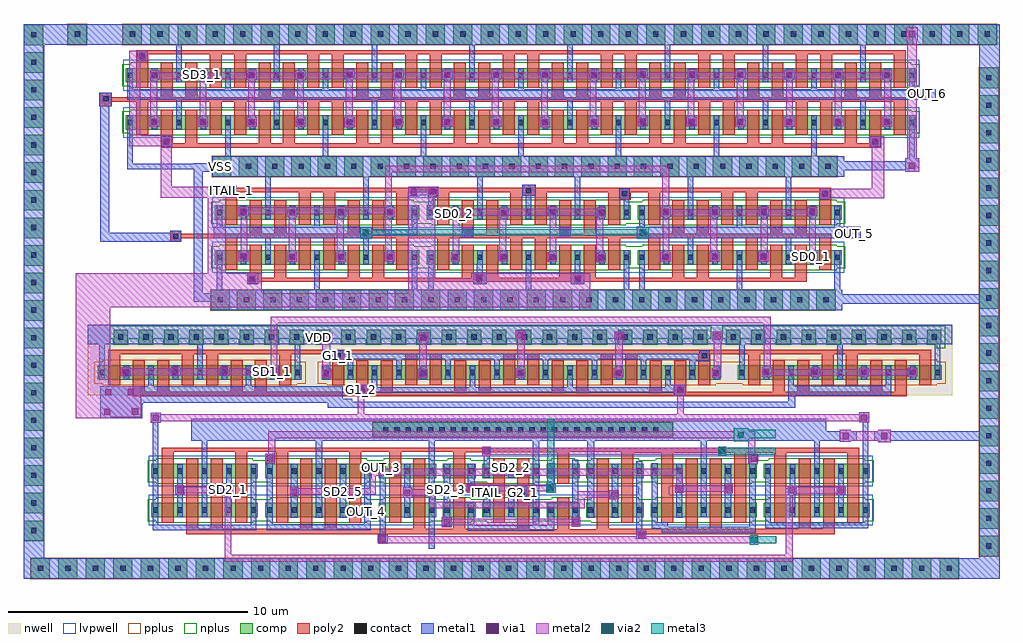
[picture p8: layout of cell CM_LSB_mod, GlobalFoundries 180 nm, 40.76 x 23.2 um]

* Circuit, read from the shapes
.subckt CM_LSB_mod G1_1 G1_2 G2_1 ITAIL ITAIL_1 OUT_1 OUT_2 OUT_3 OUT_4 OUT_5 OUT_6 SD0_1 SD0_2 SD1_1 SD2_1 SD2_2 SD2_3 SD2_4 SD2_5 SD3_1 VDD VSS
XM1 SD3_1 SD0_2 VSS VSS nfet_03v3 w=0.6u l=0.5u m=32
XM2 SD3_1 ITAIL_1 OUT_6 VSS nfet_03v3 w=0.6u l=0.5u m=32
XM3 SD2_1 ITAIL G1_2 VSS nfet_03v3 w=0.6u l=0.5u m=8
XM4 VSS G2_1 SD2_1 VSS nfet_03v3 w=0.6u l=0.5u m=8
XM5 SD0_1 SD0_2 VSS VSS nfet_03v3 w=0.6u l=0.5u m=16
XM6 SD0_1 ITAIL_1 OUT_5 VSS nfet_03v3 w=0.6u l=0.5u m=16
XM7 SD2_5 ITAIL OUT_4 VSS nfet_03v3 w=0.6u l=0.5u m=8
XM8 VSS G2_1 SD2_5 VSS nfet_03v3 w=0.6u l=0.5u m=8
XM9 SD2_4 ITAIL OUT_3 VSS nfet_03v3 w=0.6u l=0.5u m=4
XM10 VSS G2_1 SD2_4 VSS nfet_03v3 w=0.6u l=0.5u m=4
XM11 SD0_2 SD0_2 VSS VSS nfet_03v3 w=0.6u l=0.5u m=8
XM12 SD0_2 ITAIL_1 ITAIL_1 VSS nfet_03v3 w=0.6u l=0.5u m=8
XM13 VSS G2_1 SD2_3 VSS nfet_03v3 w=0.6u l=0.5u m=2
XM14 OUT_2 ITAIL SD2_3 VSS nfet_03v3 w=0.6u l=0.5u m=2
XM15 G2_1 ITAIL ITAIL VSS nfet_03v3 w=0.6u l=0.5u
XM16 SD2_2 ITAIL OUT_1 VSS nfet_03v3 w=0.6u l=0.5u
XM17 VSS G2_1 G2_1 VSS nfet_03v3 w=0.6u l=0.5u
XM18 VSS G2_1 SD2_2 VSS nfet_03v3 w=0.6u l=0.5u
XM19 SD1_1 G1_1 VDD VDD pfet_03v3 w=0.6u l=0.5u m=8
XM20 ITAIL_1 G1_2 SD1_1 VDD pfet_03v3 w=0.6u l=0.5u m=8
XM21 G1_1 G1_1 VDD VDD pfet_03v3 w=0.6u l=0.5u m=8
XM22 G1_2 G1_2 G1_1 VDD pfet_03v3 w=0.6u l=0.5u m=8
.ends

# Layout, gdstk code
import gdstk
lib = gdstk.Library(unit=1e-6, precision=1e-09)
def R(c, l, rs):  # rectangles x0, y0, x1, y1
    for r in rs: c.add(gdstk.rectangle(r[:2], r[2:], *l))
def A(c, l, x, y, w, h, nx, ny, dx, dy):  # array of equal rectangles
    R(c, l, [(x+i*dx, y+j*dy, x+i*dx+w, y+j*dy+h) for i in range(nx) for j in range(ny)])
nwell = (21, 0)
comp = (22, 0)
poly2 = (30, 0)
pplus = (31, 0)
nplus = (32, 0)
contact = (33, 0)
metal1 = (34, 0)
via1 = (35, 0)
metal2 = (36, 0)
via2 = (38, 0)
metal3 = (42, 0)
lvpwell = (204, 0)

nmos_3p3_mgea3b = lib.new_cell('nmos_3p3_MGEA3B')
R(nmos_3p3_mgea3b, comp, [(-0.69,-0.3,0.69,0.3)])
R(nmos_3p3_mgea3b, poly2, [(-0.25,-0.52,0.25,0.52)])
R(nmos_3p3_mgea3b, nplus, [(-0.48,-0.53,0.48,-0.46), (-0.85,-0.46,0.85,0.46), (-0.48,0.46,0.48,0.53)])
R(nmos_3p3_mgea3b, contact, [(-0.62,-0.11,-0.4,0.11), (0.4,-0.11,0.62,0.11)])
R(nmos_3p3_mgea3b, metal1, [(-0.625,-0.29,-0.395,0.29), (0.395,-0.29,0.625,0.29)])
R(nmos_3p3_mgea3b, lvpwell, [(-0.81,-0.64,0.81,0.64)])

pmos_3p3_dvj9e7 = lib.new_cell('pmos_3p3_DVJ9E7')
R(pmos_3p3_dvj9e7, nwell, [(-8.77,-0.95,8.77,0.95)])
R(pmos_3p3_dvj9e7, comp, [(-8.34,-0.3,8.34,0.3)])
A(pmos_3p3_dvj9e7, poly2, -7.9, -0.52, 0.5, 1.04, 16, 1, 1.02, 0)
R(pmos_3p3_dvj9e7, pplus, [(-8.13,-0.53,8.13,-0.46), (-8.5,-0.46,8.5,0.46), (-8.13,0.46,8.13,0.53)])
A(pmos_3p3_dvj9e7, contact, -8.27, -0.11, 0.22, 0.22, 17, 1, 1.02, 0)
A(pmos_3p3_dvj9e7, metal1, -8.275, -0.29, 0.23, 0.58, 17, 1, 1.02, 0)

pmos_3p3_kyxslm = lib.new_cell('pmos_3p3_KYXSLM')
R(pmos_3p3_kyxslm, nwell, [(-4.69,-0.95,4.69,0.95)])
R(pmos_3p3_kyxslm, comp, [(-4.26,-0.3,4.26,0.3)])
A(pmos_3p3_kyxslm, poly2, -3.82, -0.52, 0.5, 1.04, 8, 1, 1.02, 0)
R(pmos_3p3_kyxslm, pplus, [(-4.05,-0.53,4.05,-0.46), (-4.42,-0.46,4.42,0.46), (-4.05,0.46,4.05,0.53)])
A(pmos_3p3_kyxslm, contact, -4.19, -0.11, 0.22, 0.22, 9, 1, 1.02, 0)
A(pmos_3p3_kyxslm, metal1, -4.195, -0.29, 0.23, 0.58, 9, 1, 1.02, 0)

nmos_3p3_ajea3b = lib.new_cell('nmos_3p3_AJEA3B')
R(nmos_3p3_ajea3b, comp, [(-4.26,-0.3,4.26,0.3)])
A(nmos_3p3_ajea3b, poly2, -3.82, -0.52, 0.5, 1.04, 8, 1, 1.02, 0)
R(nmos_3p3_ajea3b, nplus, [(-4.05,-0.53,4.05,-0.46), (-4.42,-0.46,4.42,0.46), (-4.05,0.46,4.05,0.53)])
A(nmos_3p3_ajea3b, contact, -4.19, -0.11, 0.22, 0.22, 9, 1, 1.02, 0)
A(nmos_3p3_ajea3b, metal1, -4.195, -0.29, 0.23, 0.58, 9, 1, 1.02, 0)
R(nmos_3p3_ajea3b, lvpwell, [(-4.38,-0.64,4.38,0.64)])

nmos_3p3_9nplv7 = lib.new_cell('nmos_3p3_9NPLV7')
R(nmos_3p3_9nplv7, comp, [(-16.5,-0.3,16.5,0.3)])
A(nmos_3p3_9nplv7, poly2, -16.06, -0.52, 0.5, 1.04, 32, 1, 1.02, 0)
R(nmos_3p3_9nplv7, nplus, [(-16.29,-0.53,16.29,-0.46), (-16.66,-0.46,16.66,0.46), (-16.29,0.46,16.29,0.53)])
A(nmos_3p3_9nplv7, contact, -16.43, -0.11, 0.22, 0.22, 33, 1, 1.02, 0)
A(nmos_3p3_9nplv7, metal1, -16.435, -0.29, 0.23, 0.58, 33, 1, 1.02, 0)
R(nmos_3p3_9nplv7, lvpwell, [(-16.62,-0.64,16.62,0.64)])

cm_lsb_mod = lib.new_cell('CM_LSB_mod')
R(cm_lsb_mod, nwell, [(-16.28,3.8,19.77,5.7), (-16.29,5.7,19.81,6.75)])
A(cm_lsb_mod, comp, -18.665, -3.86, 0.795, 0.855, 34, 1, 1.15, 0)
A(cm_lsb_mod, comp, 20.935, -2.925, 0.795, 0.855, 1, 18, 0, 1.15)
A(cm_lsb_mod, comp, -18.945, -2.28, 0.795, 0.855, 1, 19, 0, 1.15)
A(cm_lsb_mod, comp, -15.195, 5.93, 0.585, 0.615, 8, 1, 1.05, 0)
A(cm_lsb_mod, comp, -6.74, 5.93, 0.585, 0.615, 16, 1, 1.05, 0)
A(cm_lsb_mod, comp, 10.38, 5.93, 0.585, 0.615, 9, 1, 1.05, 0)
A(cm_lsb_mod, comp, -11.155, 7.35, 0.795, 0.855, 24, 1, 1.1, 0)
A(cm_lsb_mod, comp, -11.075, 12.93, 0.795, 0.855, 24, 1, 1.1, 0)
A(cm_lsb_mod, comp, -14.815, 18.445, 0.795, 0.855, 29, 1, 1.15, 0)
A(cm_lsb_mod, comp, 18.575, 18.445, 0.795, 0.855, 3, 1, 1.15, 0)
R(cm_lsb_mod, comp, [(-4.38,2.065,8.145,2.685), (-17.11,18.445,-16.315,19.3)])
A(cm_lsb_mod, poly2, -8.42, -0.47, 0.5, 0.59, 4, 1, 1.02, 0)
A(cm_lsb_mod, poly2, 7.66, -0.47, 0.5, 0.59, 4, 1, 1.02, 0)
R(cm_lsb_mod, poly2, [(-12.165,-1.995,14.92,-1.78), (-12.165,-1.78,2.16,-1.77), (3.32,-1.78,3.82,-1.51), (4.98,-1.78,14.92,-1.76), (-12.165,-1.77,-2.18,-1.765), (-1.02,-1.77,-0.52,-1.51), (1.66,-1.77,2.16,-1.51), (-12.165,-1.765,-11.665,0.385), (-11.145,-1.765,-10.645,1.105), (-7.4,-1.765,-6.9,-1.505), (-6.38,-1.765,-5.88,-1.51), (-2.68,-1.765,-2.18,-1.51), (4.98,-1.76,5.48,-1.51), (8.68,-1.76,9.18,-1.51), (9.7,-1.76,10.2,-1.51), (13.4,-1.76,13.9,0.3), (14.42,-1.76,14.92,0.46), (-10.125,-1.1,-9.625,1.44), (-13.185,-0.965,-12.685,1.44), (12.38,-0.585,12.88,1.4), (15.44,-0.56,15.94,1.4), (1.66,-0.475,2.085,-0.47), (-3.7,-0.47,-3.2,0.12), (-2.68,-0.47,-2.18,0.12), (0.64,-0.47,1.14,-0.395), (1.66,-0.47,2.16,0.12), (4.98,-0.47,5.48,0.12), (6,-0.47,6.5,0.12), (0.225,-0.395,1.14,-0.21), (-1.02,-0.21,1.14,0.12), (-1.02,0.12,0.685,0.135), (-1.02,0.94,-0.52,1.415), (3.315,1.145,3.82,1.415), (-8.42,1.16,-7.92,1.44), (-5.36,1.16,-4.86,1.44), (-3.7,1.16,-3.2,1.44), (6,1.16,6.5,1.4), (7.66,1.16,8.16,1.4), (10.72,1.16,11.22,1.4), (6,1.4,15.94,1.44), (-1.02,1.415,3.82,1.44), (-13.185,1.44,15.94,1.62), (-14.4,3.765,17.92,3.95), (-14.4,3.95,-13.9,4.23), (-13.38,3.95,-12.88,4.415), (-10.32,3.95,-9.82,4.41), (-9.3,3.95,-8.8,4.405), (-5.06,3.95,-4.56,4.265), (-4.04,3.95,-3.54,4.23), (-0.98,3.95,-0.48,4.23), (0.04,3.95,0.54,4.23), (3.1,3.95,3.6,4.23), (4.12,3.95,4.62,4.23), (7.18,3.95,7.68,4.23), (8.2,3.95,8.7,4.265), (12.32,3.95,12.82,4.39), (13.34,3.95,13.84,4.39), (16.4,3.95,16.9,4.39), (17.42,3.95,17.92,4.39), (-6.08,5.205,-5.58,5.52), (9.22,5.205,9.72,5.52), (-15.42,5.27,-14.92,5.52), (-12.36,5.27,-11.86,5.52), (-11.34,5.27,-10.84,5.52), (-8.28,5.27,-7.78,5.52), (-3.02,5.27,-2.52,5.52), (-2,5.27,-1.5,5.52), (1.06,5.27,1.56,5.52), (2.08,5.27,2.58,5.52), (5.14,5.27,5.64,5.52), (6.16,5.27,6.66,5.52), (11.3,5.27,11.8,5.52), (14.36,5.27,14.86,5.52), (15.38,5.27,15.88,5.52), (18.44,5.27,18.94,5.52), (-15.42,5.52,18.94,5.705), (18.44,5.705,18.94,5.71), (3.895,8.435,4.46,8.54), (-0.185,8.445,0.37,8.54), (-9.6,8.46,-9.16,8.54), (-9.6,8.54,13.735,8.72), (-9.6,8.72,-9.01,8.915), (-8.49,8.72,-7.99,9.225), (-5.43,8.72,-4.93,9.225), (-4.41,8.72,-3.91,9.22), (-0.67,8.72,0.85,8.86), (3.41,8.72,4.93,8.905), (8.135,8.72,8.635,9.045), (9.155,8.72,9.655,9.045), (12.215,8.72,12.715,9.045), (13.235,8.72,13.735,9.05), (-0.67,8.86,-0.17,9.045), (0.35,8.86,0.85,9.045), (3.41,8.905,3.91,9.045), (4.43,8.905,4.93,9.045), (-9.51,8.915,-9.01,9.045), (-10.53,10.085,-10.03,10.36), (-7.47,10.085,-6.97,10.36), (-6.45,10.085,-5.95,10.36), (-3.39,10.085,-2.89,10.36), (-1.69,10.085,-1.19,10.36), (1.37,10.085,1.865,10.36), (2.39,10.085,2.885,10.36), (5.45,10.085,5.945,10.36), (7.115,10.085,7.615,10.36), (10.175,10.085,10.675,10.36), (11.195,10.085,11.695,10.36), (14.255,10.085,14.755,10.36), (-12.835,10.205,-12.37,10.36), (-12.835,10.36,14.755,10.54), (-12.835,10.54,-12.37,10.675), (-9.51,10.54,-9.01,10.995), (-8.49,10.54,-7.99,10.99), (-5.43,10.54,-4.93,10.99), (-4.41,10.54,-3.91,10.995), (-0.67,10.54,-0.17,10.915), (0.35,10.54,0.85,10.915), (3.41,10.54,3.91,10.915), (4.43,10.54,4.93,10.915), (8.135,10.54,8.635,10.915), (9.155,10.54,9.655,10.92), (12.215,10.54,12.715,10.915), (13.235,10.54,13.735,10.92), (-10.53,11.955,-10.03,12.135), (-7.47,11.955,-6.97,12.285), (-6.45,11.955,-5.95,12.285), (-3.39,11.955,-2.89,12.285), (-1.69,11.955,-1.19,12.08), (1.37,11.955,1.87,12.13), (2.39,11.955,2.89,12.13), (5.45,11.955,5.95,11.965), (7.115,11.955,7.615,12.285), (10.175,11.955,10.675,12.285), (11.195,11.955,11.695,12.285), (14.255,11.955,14.755,12.285), (5.45,11.965,6.385,12.285), (-2.07,12.08,-1.19,12.285), (1.37,12.13,2.89,12.285), (-10.535,12.135,-10.03,12.285), (-10.535,12.285,14.755,12.465), (-10.535,12.465,-10.07,12.55), (-2.07,12.465,-1.63,12.52), (1.855,12.465,2.43,12.585), (-13.23,14.15,16.85,14.33), (-13.23,14.33,-12.73,14.68), (-12.21,14.33,-11.71,14.68), (-9.15,14.33,-8.65,14.68), (-8.13,14.33,-7.63,14.68), (-5.07,14.33,-4.57,14.68), (-4.05,14.33,-3.55,14.68), (-0.99,14.33,-0.49,14.68), (0.03,14.33,0.53,14.68), (3.09,14.33,3.59,14.68), (4.11,14.33,4.61,14.68), (7.17,14.33,7.67,14.68), (8.19,14.33,8.69,14.68), (11.25,14.33,11.75,14.68), (12.27,14.33,12.77,14.68), (15.33,14.33,15.83,14.68), (16.35,14.33,16.85,14.68), (-14.25,15.72,-13.75,16.07), (-11.19,15.72,-10.69,16.07), (-10.17,15.72,-9.67,16.07), (-7.11,15.72,-6.61,16.07), (-6.09,15.72,-5.59,16.07), (-3.03,15.72,-2.53,16.07), (-2.01,15.72,-1.51,16.07), (1.05,15.72,1.55,16.07), (2.07,15.72,2.57,16.07), (5.13,15.72,5.63,16.07), (6.15,15.72,6.65,16.07), (9.21,15.72,9.71,16.07), (10.23,15.72,10.73,16.07), (13.29,15.72,13.79,16.07), (14.31,15.72,14.81,16.07), (17.37,15.72,17.87,16.07), (-15.8,15.88,-15.29,16.07), (-15.8,16.07,17.87,16.25), (-15.8,16.25,-15.29,16.44), (-13.23,16.25,-12.73,16.78), (-12.21,16.25,-11.71,16.78), (-9.15,16.25,-8.65,16.78), (-8.13,16.25,-7.63,16.78), (-5.07,16.25,-4.57,16.78), (-4.05,16.25,-3.55,16.78), (-0.99,16.25,-0.49,16.78), (0.03,16.25,0.53,16.78), (3.09,16.25,3.59,16.78), (4.11,16.25,4.61,16.78), (7.17,16.25,7.67,16.775), (8.19,16.25,8.69,16.78), (11.25,16.25,11.75,16.78), (12.27,16.25,12.77,16.78), (15.33,16.25,15.83,16.78), (16.35,16.25,16.85,16.78), (-14.25,17.575,-13.75,18.04), (-11.19,17.69,-10.69,18.04), (-10.17,17.69,-9.67,18.04), (-7.11,17.69,-6.61,18.04), (-6.09,17.69,-5.59,18.04), (-3.03,17.69,-2.53,18.04), (-2.01,17.69,-1.51,18.04), (1.05,17.69,1.55,18.04), (2.07,17.69,2.57,18.04), (5.13,17.69,5.63,18.04), (6.15,17.69,6.65,18.04), (9.21,17.69,9.71,18.04), (10.23,17.69,10.73,18.04), (13.29,17.69,13.79,18.04), (14.31,17.69,14.81,18.04), (17.37,17.69,17.87,18.04), (-14.25,18.04,17.87,18.22)])
R(cm_lsb_mod, pplus, [(-18.685,-3.88,20.1,-2.985), (20.915,-2.945,21.75,17.5), (-18.965,-2.3,-18.13,19.295), (-4.4,2.045,8.165,2.705), (10.32,4.29,10.7,5.21), (-11.175,7.33,14.96,8.225), (-11.095,12.91,15.04,13.805), (-17.13,18.425,-16.295,19.32), (-14.835,18.425,21.69,19.32)])
A(cm_lsb_mod, nplus, -12.455, -1.52, 0.06, 0.07, 3, 2, 1.02, 0.99)
A(cm_lsb_mod, nplus, -7.69, -1.52, 0.06, 0.07, 3, 2, 1.02, 0.99)
A(cm_lsb_mod, nplus, -2.97, -1.52, 0.06, 0.07, 3, 2, 4.34, 0.99)
A(cm_lsb_mod, nplus, 8.39, -1.52, 0.06, 0.07, 3, 2, 1.02, 0.99)
A(cm_lsb_mod, nplus, 13.11, -1.52, 0.06, 0.07, 3, 2, 1.02, 0.99)
A(cm_lsb_mod, nplus, -12.455, 0.11, 0.06, 0.07, 3, 2, 1.02, 0.99)
A(cm_lsb_mod, nplus, -7.69, 0.11, 0.06, 0.07, 3, 2, 1.02, 0.99)
A(cm_lsb_mod, nplus, -2.97, 0.11, 0.06, 0.07, 3, 2, 4.34, 0.99)
A(cm_lsb_mod, nplus, 8.39, 0.11, 0.06, 0.07, 3, 2, 1.02, 0.99)
A(cm_lsb_mod, nplus, 13.11, 0.11, 0.06, 0.07, 3, 2, 1.02, 0.99)
A(cm_lsb_mod, nplus, -15.215, 5.91, 0.625, 0.005, 8, 1, 1.05, 0)
A(cm_lsb_mod, nplus, -6.76, 5.91, 0.625, 0.005, 16, 1, 1.05, 0)
A(cm_lsb_mod, nplus, 10.36, 5.91, 0.625, 0.005, 8, 1, 1.05, 0)
A(cm_lsb_mod, nplus, -15.22, 5.915, 0.63, 0.245, 8, 1, 1.05, 0)
A(cm_lsb_mod, nplus, -6.765, 5.915, 0.63, 0.245, 16, 1, 1.05, 0)
A(cm_lsb_mod, nplus, 10.355, 5.915, 0.63, 0.245, 8, 1, 1.05, 0)
R(cm_lsb_mod, nplus, [(-9.025,-1.45,-9.02,-0.53), (-9.025,0.18,-9.02,1.1), (19.18,5.77,19.525,5.91), (18.76,5.91,19.525,5.915), (18.755,5.915,19.525,6.16), (-15.355,6.16,9.755,6.705), (10.22,6.16,19.525,6.705)])
A(cm_lsb_mod, contact, -18.37, -3.53, 0.22, 0.22, 34, 1, 1.15, 0)
A(cm_lsb_mod, contact, 21.23, -2.595, 0.22, 0.22, 1, 18, 0, 1.15)
A(cm_lsb_mod, contact, -18.65, -1.95, 0.22, 0.22, 1, 19, 0, 1.15)
A(cm_lsb_mod, contact, -3.95, 2.255, 0.22, 0.22, 25, 1, 0.47, 0)
A(cm_lsb_mod, contact, -15.015, 6.13, 0.22, 0.22, 8, 1, 1.05, 0)
A(cm_lsb_mod, contact, -6.56, 6.13, 0.22, 0.22, 16, 1, 1.05, 0)
A(cm_lsb_mod, contact, 10.56, 6.13, 0.22, 0.22, 9, 1, 1.05, 0)
A(cm_lsb_mod, contact, -10.86, 7.68, 0.22, 0.22, 24, 1, 1.1, 0)
A(cm_lsb_mod, contact, -10.78, 13.26, 0.22, 0.22, 24, 1, 1.1, 0)
A(cm_lsb_mod, contact, -14.52, 18.775, 0.22, 0.22, 29, 1, 1.15, 0)
A(cm_lsb_mod, contact, 18.87, 18.775, 0.22, 0.22, 3, 1, 1.15, 0)
R(cm_lsb_mod, contact, [(1.76,-0.335,1.98,-0.115), (0.6,-0.275,0.82,-0.055), (-4.92,3.905,-4.7,4.125), (8.34,3.905,8.56,4.125), (-5.94,5.345,-5.72,5.565), (9.36,5.345,9.58,5.565), (-0.035,8.54,0.185,8.76), (-9.505,8.56,-9.285,8.78), (4.05,8.565,4.27,8.785), (-12.72,10.335,-12.5,10.555), (-0.53,10.5,-0.31,10.72), (3.55,10.5,3.77,10.72), (6.025,12.105,6.245,12.325), (14.395,12.105,14.615,12.325), (-1.96,12.19,-1.74,12.41), (-10.425,12.235,-10.205,12.455), (2.01,12.235,2.23,12.455), (-13.09,14.29,-12.87,14.51), (16.49,14.29,16.71,14.51), (-15.635,16.08,-15.415,16.3), (-14.11,17.86,-13.89,18.08), (-16.815,18.775,-16.595,18.995)])
A(cm_lsb_mod, metal1, -15.795, 5.04, 0.23, 0.89, 3, 1, 4.08, 0)
A(cm_lsb_mod, metal1, -3.395, 5.04, 0.23, 0.275, 6, 1, 2.04, 0)
A(cm_lsb_mod, metal1, 10.925, 5.04, 0.23, 0.89, 3, 1, 4.08, 0)
A(cm_lsb_mod, metal1, 6.74, 8.205, 0.23, 1.07, 3, 1, 4.08, 0)
A(cm_lsb_mod, metal1, -10.545, 13.785, 0.23, 1.125, 7, 1, 4.08, 0)
A(cm_lsb_mod, metal1, -12.585, 15.49, 0.23, 0.655, 8, 1, 4.08, 0)
A(cm_lsb_mod, metal1, -10.545, 16.585, 0.23, 0.3, 3, 1, 4.08, 0)
A(cm_lsb_mod, metal1, 9.855, 16.585, 0.23, 0.3, 3, 1, 4.08, 0)
A(cm_lsb_mod, metal1, -8.505, 17.46, 0.23, 0.985, 7, 1, 4.08, 0)
R(cm_lsb_mod, metal1, [(-18.945,-3.86,21.79,-3.005), (-18.945,-3.005,-18.09,18.445), (20.935,-3.005,21.79,1.895), (-2.04,-2.61,-1.79,1.905), (-4.165,-2.38,-3.755,-2.02), (6.625,-2.195,7.045,-1.86), (-4.09,-2.02,-3.83,0.955), (7.685,-1.945,11.605,-1.765), (6.625,-1.86,6.88,1.045), (-0.405,-1.85,-0.14,-1.845), (-0.405,-1.845,3.19,-1.615), (-13.56,-1.83,-9.25,-1.6), (-8.8,-1.83,-4.47,-1.585), (7.265,-1.765,11.605,-1.685), (12.005,-1.75,16.315,-1.52), (3.925,-1.695,4.29,-1.29), (7.265,-1.685,7.945,-1.505), (11.35,-1.685,11.605,0.925), (-1.49,-1.655,-1.09,-1.34), (-0.405,-1.615,-0.145,-0.675), (2.29,-1.615,2.58,1.905), (2.925,-1.615,3.19,-0.655), (-13.56,-1.6,-13.33,2.66), (-9.48,-1.6,-9.25,0.35), (-8.8,-1.585,-8.555,0.965), (-4.74,-1.585,-4.47,0.935), (12.005,-1.52,12.235,0.35), (16.085,-1.52,16.315,2.675), (7.265,-1.505,7.525,0.96), (-1.415,-1.34,-1.155,0.94), (4.585,-1.32,4.86,1.905), (-3.075,-1.315,-2.81,-0.47), (10.325,-1.315,10.585,-0.29), (8.29,-1.31,8.55,-0.275), (-7.795,-1.305,-7.515,-0.405), (-6.77,-1.305,-6.49,1.905), (-5.76,-1.3,-5.485,-0.405), (5.59,-1.3,5.875,-0.53), (1.27,-1.295,1.525,-0.45), (0.23,-1.29,0.515,-0.39), (3.955,-1.29,4.205,1.115), (9.305,-1.29,9.565,1.905), (-12.54,-0.7,-12.31,-0.34), (-11.52,-0.7,-11.29,1.905), (-10.5,-0.7,-10.27,-0.345), (13.025,-0.7,13.255,-0.34), (14.045,-0.7,14.275,1.895), (15.065,-0.7,15.295,-0.345), (5.495,-0.53,5.9,-0.16), (-3.125,-0.47,-2.725,-0.045), (1.27,-0.45,2.06,0), (-7.8,-0.405,-7.51,-0.4), (-5.79,-0.405,-5.425,-0.02), (-7.84,-0.4,-7.47,-0.035), (0.23,-0.39,0.93,0.04), (-10.575,-0.345,-10.2,0.045), (15,-0.345,15.36,0.025), (-12.625,-0.34,-12.25,0.045), (12.955,-0.34,13.315,0.03), (10.295,-0.29,10.66,0.115), (-0.46,-0.275,-0.11,0.08), (2.88,-0.275,3.25,0.09), (8.22,-0.275,8.625,0.075), (5.59,-0.16,5.875,0.95), (-3.075,-0.045,-2.81,0.95), (-7.795,-0.035,-7.515,0.95), (-5.76,-0.02,-5.485,0.93), (15.065,0.025,15.295,0.35), (13.025,0.03,13.255,0.35), (-12.54,0.045,-12.31,0.35), (-10.5,0.045,-10.27,0.35), (8.29,0.075,8.55,0.945), (-0.405,0.08,-0.125,0.95), (2.9,0.09,3.215,0.965), (10.325,0.115,10.585,0.94), (1.275,0.35,1.53,0.935), (0.26,0.36,0.495,1.265), (11.34,0.925,11.705,1.365), (-8.88,0.965,-8.475,1.355), (0.185,1.265,0.54,1.66), (16.72,1.85,17.24,1.895), (15.125,1.86,15.585,1.895), (14.045,1.895,15.83,1.905), (16.555,1.895,21.79,2.305), (-11.96,1.905,15.83,2.305), (-11.96,2.305,14.565,2.82), (15.125,2.305,15.585,2.36), (16.72,2.305,17.24,2.36), (20.935,2.305,21.79,7.63), (-13.65,2.66,-13.23,3.075), (15.925,2.675,16.345,3.09), (-11.96,2.82,-5.17,2.825), (-4.835,2.82,-4.595,2.825), (-0.755,2.82,-0.5,2.825), (3.32,2.82,3.59,2.825), (7.42,2.82,7.66,2.825), (8.555,2.82,14.565,2.825), (-15.75,2.85,-14,3.42), (-6.265,3.285,13.265,3.485), (-15.75,3.42,-13.985,3.485), (-15.75,3.485,13.265,3.535), (-15.75,3.535,-5.235,3.665), (12.965,3.535,13.265,3.785), (-15.75,3.665,-5.625,4.185), (12.965,3.785,17.265,3.98), (-5.035,3.79,-4.585,3.905), (8.225,3.79,8.675,3.91), (-5.055,3.905,-4.585,3.91), (-5.055,3.91,8.675,4.14), (12.965,3.98,17.275,4.21), (-5.055,4.14,-4.185,4.195), (-0.335,4.14,-0.105,4.69), (3.745,4.14,3.975,4.69), (7.825,4.14,8.675,4.24), (-13.755,4.185,-13.525,4.46), (-9.675,4.185,-9.445,4.46), (-5.035,4.195,-4.185,4.24), (12.965,4.21,13.195,4.46), (17.045,4.21,17.275,4.46), (-4.415,4.24,-4.185,4.475), (7.825,4.24,8.055,4.46), (-6.515,4.52,-6.12,4.915), (-2.495,4.52,-2.1,4.915), (1.6,4.53,1.995,4.925), (5.675,4.535,6.07,4.93), (9.775,4.54,10.17,4.935), (13.9,4.575,14.305,4.955), (15.935,4.575,16.34,4.955), (17.96,4.575,18.365,4.955), (11.865,4.585,12.27,4.965), (-14.895,4.595,-14.49,4.975), (-8.75,4.6,-8.3,5.05), (-12.81,4.62,-12.405,5), (-10.76,4.62,-10.355,5), (-5.435,5.03,-5.205,5.23), (8.845,5.04,9.075,5.23), (-6.055,5.23,-5.205,5.315), (8.845,5.23,9.695,5.315), (-6.055,5.315,9.695,5.545), (-6.055,5.545,-5.605,5.68), (9.245,5.545,9.695,5.68), (-5.99,5.68,-5.76,5.69), (-16.29,5.93,19.81,6.75), (-11.155,7.35,15.22,7.63), (-11.155,7.63,21.79,7.705), (-11.85,7.705,21.79,8.02), (-11.85,8.02,15.22,8.065), (20.935,8.02,21.79,18.445), (-11.85,8.065,-11.49,13.13), (-11.155,8.065,15.22,8.205), (-10.905,8.205,-10.675,9.29), (-6.825,8.205,-6.595,9.275), (-2.745,8.205,-2.515,9.275), (-2.065,8.205,-1.835,9.285), (2.015,8.205,2.245,9.275), (6.095,8.205,6.325,9.275), (3.895,8.435,4.46,8.905), (-9.62,8.445,-9.16,8.915), (-0.185,8.445,0.37,8.86), (-0.085,8.86,0.205,8.9), (-0.03,8.9,0.205,9.275), (4.055,8.905,4.285,9.275), (4.965,9.36,5.35,9.765), (2.925,9.37,3.31,9.775), (7.63,9.37,8.055,9.775), (-5.92,9.38,-5.495,9.785), (-3.885,9.38,-3.46,9.785), (-1.13,9.38,-0.745,9.785), (-7.955,9.385,-7.53,9.79), (9.685,9.39,10.11,9.795), (11.725,9.39,12.15,9.795), (0.865,9.395,1.25,9.8), (13.78,9.4,14.205,9.805), (-9.99,9.405,-9.565,9.81), (-8.865,9.855,-8.635,10.36), (-4.785,9.855,-4.555,10.35), (8.78,9.855,9.01,10.36), (12.86,9.855,13.09,10.36), (-12.835,10.205,-12.37,10.22), (-15.76,10.22,-12.37,10.59), (-4.9,10.35,-4.415,10.36), (6.65,10.35,7.135,10.36), (-11.03,10.36,-4.41,10.485), (6.65,10.36,15.99,10.835), (-0.645,10.385,-0.195,10.835), (3.435,10.385,3.885,10.835), (-11.03,10.485,-2.515,10.715), (-15.76,10.59,-15.39,15.88), (-12.835,10.59,-12.37,10.675), (-11.03,10.715,-4.41,10.845), (-2.745,10.715,-2.515,11.165), (6.66,10.835,15.99,10.845), (-10.905,10.845,-10.675,11.19), (-6.825,10.845,-6.595,11.165), (6.74,10.845,6.97,11.165), (10.82,10.845,11.05,11.165), (14.9,10.845,15.13,11.145), (-2.07,11.185,-1.825,12.085), (-1.13,11.22,-0.745,11.625), (0.895,11.225,1.28,11.63), (-7.95,11.245,-7.525,11.65), (-3.885,11.245,-3.46,11.65), (4.965,11.245,5.35,11.65), (7.645,11.25,8.07,11.655), (9.685,11.255,10.11,11.66), (-5.92,11.265,-5.495,11.67), (2.935,11.27,3.32,11.675), (11.735,11.27,12.16,11.675), (13.76,11.27,14.185,11.675), (-9.99,11.275,-9.565,11.68), (-8.865,11.725,-8.635,12.93), (-4.785,11.725,-4.555,12.93), (-0.025,11.725,0.205,12.93), (2.015,11.725,2.245,12.13), (4.055,11.725,4.285,12.93), (6.095,11.725,6.325,11.99), (8.78,11.725,9.01,12.93), (12.86,11.725,13.09,12.93), (5.91,11.99,6.36,12.44), (14.28,11.99,14.73,12.44), (-2.095,12.085,-1.715,12.105), (-2.095,12.105,-1.655,12.165), (-2.89,12.12,-2.445,12.165), (1.855,12.13,2.43,12.585), (-10.535,12.135,-10.07,12.55), (-2.89,12.165,-1.655,12.41), (-2.89,12.41,-2.445,12.48), (-2.095,12.41,-1.655,12.495), (-2.095,12.495,-1.715,12.51), (-11.075,12.93,15.3,13.13), (-11.85,13.13,15.3,13.195), (17.86,13.135,18.445,13.195), (-11.85,13.195,18.445,13.245), (-14.625,13.245,18.445,13.475), (-14.625,13.475,-14.395,14.91), (-11.85,13.475,18.445,13.49), (-11.075,13.49,18.445,13.585), (-11.075,13.585,15.3,13.785), (17.86,13.585,18.445,13.695), (18.015,13.695,18.245,14.91), (-13.205,14.175,-12.755,14.625), (16.375,14.175,16.825,14.625), (-5.565,15.005,-5.135,15.42), (2.605,15.005,3.035,15.42), (0.57,15.01,1,15.425), (-9.645,15.015,-9.215,15.43), (4.65,15.015,5.08,15.43), (-3.53,15.02,-3.1,15.435), (12.805,15.02,13.235,15.435), (16.89,15.02,17.32,15.435), (-13.71,15.025,-13.28,15.44), (-11.675,15.025,-11.245,15.44), (-7.6,15.025,-7.17,15.44), (-1.48,15.025,-1.05,15.44), (10.765,15.025,11.195,15.44), (8.72,15.03,9.15,15.445), (14.85,15.035,15.28,15.45), (6.68,15.04,7.11,15.455), (-15.8,15.88,-15.29,16.44), (-14.625,16.145,19.13,16.585), (-14.625,16.585,-14.395,16.88), (1.695,16.585,1.925,16.88), (5.775,16.585,6.005,16.88), (-7.615,16.965,-7.185,17.38), (-13.7,16.97,-13.27,17.385), (-11.67,16.98,-11.24,17.395), (-3.52,16.98,-3.09,17.395), (14.84,16.98,15.27,17.395), (16.885,16.98,17.315,17.395), (-9.645,16.985,-9.215,17.4), (4.65,16.985,5.08,17.4), (12.8,16.985,13.23,17.4), (-1.47,16.99,-1.04,17.405), (-5.56,16.995,-5.13,17.41), (0.575,16.995,1.005,17.41), (2.605,16.995,3.035,17.41), (10.765,16.995,11.195,17.41), (6.68,17.01,7.11,17.425), (8.745,17.01,9.175,17.425), (-12.585,17.415,-12.355,18.445), (-14.225,17.745,-13.775,18.195), (-18.945,18.445,21.79,19.3)])
R(cm_lsb_mod, via1, [(-4.09,-2.325,-3.83,-2.065), (6.715,-2.18,6.975,-1.92), (-1.415,-1.62,-1.155,-1.36), (3.955,-1.62,4.215,-1.36), (5.585,-0.475,5.845,-0.215), (-3.07,-0.395,-2.81,-0.135), (-7.785,-0.35,-7.525,-0.09), (-5.74,-0.35,-5.48,-0.09), (13.01,-0.29,13.27,-0.03), (-12.555,-0.285,-12.295,-0.025), (15.05,-0.285,15.31,-0.025), (-10.515,-0.28,-10.255,-0.02), (8.295,-0.22,8.555,0.04), (10.345,-0.22,10.605,0.04), (-0.395,-0.2,-0.135,0.06), (2.925,-0.2,3.185,0.06), (-8.805,1.03,-8.545,1.29), (11.4,1.03,11.66,1.29), (0.25,1.335,0.51,1.595), (15.235,1.97,15.495,2.23), (16.845,1.97,17.105,2.23), (-13.575,2.735,-13.315,2.995), (16,2.735,16.26,2.995), (-15.6,2.99,-15.34,3.25), (-14.435,3,-14.175,3.26), (-15.555,3.795,-15.295,4.055), (-14.62,3.815,-14.36,4.075), (8.345,3.9,8.605,4.16), (-5,3.92,-4.74,4.18), (-6.455,4.585,-6.195,4.845), (-2.435,4.585,-2.175,4.845), (1.66,4.595,1.92,4.855), (5.735,4.6,5.995,4.86), (9.835,4.605,10.095,4.865), (13.955,4.64,14.215,4.9), (15.99,4.64,16.25,4.9), (18.015,4.64,18.275,4.9), (11.92,4.65,12.18,4.91), (-14.84,4.66,-14.58,4.92), (-12.755,4.685,-12.495,4.945), (-10.705,4.685,-10.445,4.945), (-8.655,4.695,-8.395,4.955), (-6.4,6.075,-6.14,6.335), (-2.395,6.085,-2.135,6.345), (5.785,6.125,6.045,6.385), (9.885,6.125,10.145,6.385), (1.645,6.185,1.905,6.445), (-9.54,8.52,-9.28,8.78), (4.05,8.53,4.31,8.79), (-0.07,8.585,0.19,8.845), (5.025,9.425,5.285,9.685), (2.985,9.435,3.245,9.695), (-1.07,9.445,-0.81,9.705), (7.71,9.445,7.97,9.705), (-5.84,9.455,-5.58,9.715), (-3.805,9.455,-3.545,9.715), (-7.875,9.46,-7.615,9.72), (0.925,9.46,1.185,9.72), (9.765,9.465,10.025,9.725), (11.805,9.465,12.065,9.725), (13.86,9.475,14.12,9.735), (-9.91,9.48,-9.65,9.74), (-4.8,10.47,-4.54,10.73), (-0.53,10.47,-0.27,10.73), (3.52,10.47,3.78,10.73), (6.77,10.47,7.03,10.73), (-1.07,11.285,-0.81,11.545), (0.955,11.29,1.215,11.55), (5.025,11.31,5.285,11.57), (-7.87,11.32,-7.61,11.58), (-3.805,11.32,-3.545,11.58), (7.725,11.325,7.985,11.585), (9.765,11.33,10.025,11.59), (2.995,11.335,3.255,11.595), (-5.84,11.34,-5.58,11.6), (11.815,11.345,12.075,11.605), (13.84,11.345,14.1,11.605), (-9.91,11.35,-9.65,11.61), (14.375,12.085,14.635,12.345), (-2.8,12.16,-2.54,12.42), (-2.04,12.195,-1.78,12.455), (-10.445,12.2,-10.185,12.46), (18.01,13.26,18.27,13.52), (-13.13,14.255,-12.87,14.515), (16.46,14.26,16.72,14.52), (-5.49,15.07,-5.23,15.33), (2.68,15.07,2.94,15.33), (0.645,15.075,0.905,15.335), (-9.57,15.08,-9.31,15.34), (4.725,15.08,4.985,15.34), (-3.455,15.085,-3.195,15.345), (12.88,15.085,13.14,15.345), (16.965,15.085,17.225,15.345), (-13.635,15.09,-13.375,15.35), (-11.6,15.09,-11.34,15.35), (-7.525,15.09,-7.265,15.35), (-1.405,15.09,-1.145,15.35), (10.84,15.09,11.1,15.35), (8.795,15.095,9.055,15.355), (14.925,15.1,15.185,15.36), (6.755,15.105,7.015,15.365), (-7.54,17.03,-7.28,17.29), (-13.625,17.035,-13.365,17.295), (-11.595,17.045,-11.335,17.305), (-3.445,17.045,-3.185,17.305), (14.915,17.045,15.175,17.305), (16.96,17.045,17.22,17.305), (-9.57,17.05,-9.31,17.31), (4.725,17.05,4.985,17.31), (12.875,17.05,13.135,17.31), (-1.395,17.055,-1.135,17.315), (-5.485,17.06,-5.225,17.32), (0.65,17.06,0.91,17.32), (2.68,17.06,2.94,17.32), (10.84,17.06,11.1,17.32), (6.755,17.075,7.015,17.335), (8.82,17.075,9.08,17.335), (-14.135,17.84,-13.875,18.1), (18.01,18.76,18.27,19.02)])
R(cm_lsb_mod, metal2, [(-10.565,-3.145,13.15,-2.865), (-10.565,-2.865,-10.285,-0.345), (12.87,-2.865,13.15,-0.34), (11.365,-2.43,11.725,-2.365), (-4.135,-2.405,-3.765,-2.365), (-4.135,-2.365,11.725,-2.085), (-4.135,-2.085,-3.765,-2.02), (6.625,-2.085,7.045,-1.86), (11.365,-2.085,11.725,-2.035), (-1.5,-1.71,-1.08,-1.63), (3.925,-1.695,4.29,-1.63), (-1.5,-1.63,4.29,-1.35), (-1.5,-1.35,-1.08,-1.29), (3.925,-1.35,4.29,-1.29), (-2.03,-0.92,4.465,-0.64), (-2.03,-0.64,-1.75,-0.405), (4.185,-0.64,4.465,-0.485), (5.495,-0.53,5.9,-0.485), (4.185,-0.485,5.9,-0.205), (-3.125,-0.47,-2.725,-0.405), (-7.84,-0.405,-7.47,-0.36), (-5.79,-0.405,-5.425,-0.36), (-3.125,-0.405,-1.75,-0.125), (-7.84,-0.36,-4.255,-0.08), (-10.575,-0.345,-10.2,-0.29), (15,-0.345,15.36,-0.3), (-12.625,-0.34,-12.25,-0.29), (12.87,-0.34,13.315,-0.3), (12.87,-0.3,15.36,-0.075), (-12.625,-0.29,-10.2,-0.01), (10.295,-0.29,10.66,-0.23), (-0.46,-0.275,-0.11,-0.21), (2.875,-0.275,3.255,-0.21), (8.235,-0.275,8.625,-0.23), (8.235,-0.23,10.66,0.05), (-0.46,-0.21,3.255,0.07), (5.495,-0.205,5.9,-0.16), (-3.125,-0.125,-2.725,-0.045), (-7.84,-0.08,-7.47,-0.035), (-5.79,-0.08,-5.425,-0.02), (-4.535,-0.08,-4.255,0.45), (12.955,-0.075,15.36,-0.02), (12.955,-0.02,13.315,0.03), (15,-0.02,15.36,0.025), (-12.625,-0.01,-12.25,0.045), (-10.575,-0.01,-10.2,0.045), (8.235,0.05,8.625,0.075), (10.295,0.05,10.66,0.115), (-0.46,0.07,-0.11,0.08), (2.875,0.07,3.255,0.09), (8.285,0.075,8.565,0.45), (-4.535,0.45,8.565,0.73), (11.34,0.925,11.705,0.935), (11.305,0.935,11.705,1.02), (-8.88,0.965,-8.475,0.99), (-8.88,0.99,-8.455,1.355), (11.305,1.02,11.715,1.3), (0.185,1.265,0.54,1.325), (10.05,1.275,10.39,1.325), (11.305,1.3,11.705,1.365), (0.185,1.325,10.39,1.605), (-8.735,1.355,-8.455,2.02), (11.305,1.365,11.585,1.89), (0.185,1.605,0.54,1.66), (10.05,1.605,10.39,1.655), (16.72,1.85,17.24,1.895), (15.125,1.86,15.585,1.895), (10.7,1.89,11.585,2.02), (15.125,1.895,17.24,2.305), (-8.735,2.02,11.585,2.3), (10.7,2.3,11.325,2.42), (15.125,2.305,15.585,2.36), (16.72,2.305,17.24,2.36), (-13.65,2.66,-13.23,2.725), (15.925,2.675,16.345,2.725), (-13.65,2.725,16.345,3.005), (-16.775,2.855,-15.34,2.88), (-16.775,2.88,-14.05,4.18), (-13.65,3.005,-13.23,3.075), (-5.01,3.005,-4.73,3.765), (8.335,3.005,8.615,3.775), (15.925,3.005,16.345,3.09), (-5.06,3.765,-4.56,4.235), (8.19,3.775,8.69,4.245), (-16.775,4.18,-15.34,7.475), (-6.515,4.52,-6.12,4.915), (-2.495,4.52,-2.1,4.915), (1.6,4.53,1.995,4.925), (5.675,4.535,6.07,4.93), (9.775,4.54,10.17,4.92), (13.9,4.575,14.305,4.62), (15.935,4.575,16.34,4.62), (17.96,4.575,18.365,4.62), (11.865,4.585,12.27,4.62), (-14.895,4.595,-14.49,4.65), (-8.75,4.6,-8.3,4.65), (-12.81,4.62,-12.405,4.65), (-10.76,4.62,-10.355,4.65), (11.865,4.62,18.365,4.9), (-14.895,4.65,-8.3,4.93), (11.865,4.9,12.27,4.965), (13.9,4.9,14.305,4.955), (15.935,4.9,16.34,4.955), (17.96,4.9,18.365,4.955), (-6.48,4.915,-6.16,6.01), (-2.44,4.915,-2.12,6.02), (9.775,4.92,10.175,4.935), (1.645,4.925,1.965,6.12), (-14.895,4.93,-14.49,4.975), (-12.81,4.93,-12.405,5), (-10.76,4.93,-10.355,5), (-8.75,4.93,-8.3,5.05), (5.745,4.93,6.065,6.06), (9.855,4.935,10.175,6.06), (11.95,4.965,12.23,6.805), (-8.64,5.05,-8.36,6.805), (-6.48,6.01,-6.065,6.11), (-2.455,6.02,-2.06,6.415), (5.725,6.06,6.12,6.455), (9.825,6.06,10.22,6.455), (-6.46,6.11,-6.065,6.405), (1.585,6.12,1.98,6.515), (-8.64,6.805,12.23,7.085), (-16.775,7.475,4.705,8.055), (-16.775,8.055,-9.01,8.91), (-2.905,8.055,4.705,8.685), (-2.905,8.685,-1.77,12.085), (-0.27,8.685,4.705,8.895), (-0.185,8.895,0.365,8.925), (3.9,8.895,4.44,8.9), (-11.28,8.91,-10.52,12.06), (-9.62,8.91,-9.16,8.915), (4.965,9.36,5.35,9.385), (2.925,9.37,3.31,9.775), (7.63,9.37,8.055,9.775), (-5.92,9.38,-5.495,9.785), (-3.885,9.38,-3.46,9.785), (-1.13,9.38,-0.745,9.785), (-7.955,9.385,-7.53,9.79), (4.955,9.385,5.35,9.765), (9.685,9.39,10.11,9.795), (11.725,9.39,12.15,9.795), (0.865,9.395,1.25,9.8), (13.78,9.4,14.205,9.805), (-9.99,9.405,-9.565,9.81), (4.955,9.765,5.235,11.245), (3.01,9.775,3.29,10.39), (7.72,9.775,8.01,11.25), (-5.88,9.785,-5.6,11.265), (-3.865,9.785,-3.585,11.245), (-1.045,9.785,-0.765,10.4), (-7.885,9.79,-7.605,11.245), (9.72,9.795,10,11.255), (11.83,9.795,12.11,11.27), (0.91,9.8,1.19,11.225), (13.845,9.805,14.125,11.27), (-9.9,9.81,-9.62,11.275), (-4.9,10.35,-4.415,10.835), (6.65,10.35,7.135,10.835), (3.01,10.39,3.88,10.83), (-1.045,10.4,-0.2,10.85), (3.01,10.83,3.29,11.27), (-1.045,10.85,-0.765,11.22), (-1.13,11.22,-0.745,11.305), (0.895,11.225,1.28,11.305), (-7.95,11.245,-7.525,11.37), (-3.885,11.245,-3.46,11.37), (4.955,11.245,5.35,11.305), (7.645,11.25,8.07,11.285), (9.685,11.255,10.11,11.285), (-5.92,11.265,-5.495,11.37), (2.935,11.27,3.32,11.305), (11.735,11.27,12.16,11.285), (13.76,11.27,14.185,11.285), (-9.99,11.275,-9.565,11.37), (7.645,11.285,14.185,11.57), (-1.13,11.305,5.35,11.585), (-9.99,11.37,-3.46,11.65), (7.645,11.57,12.16,11.575), (13.76,11.57,14.185,11.675), (7.645,11.575,10.11,11.58), (11.735,11.575,12.16,11.675), (7.645,11.58,8.07,11.655), (9.685,11.58,10.11,11.66), (-1.13,11.585,-0.745,11.625), (0.895,11.585,1.28,11.63), (2.935,11.585,3.32,11.675), (4.965,11.585,5.35,11.65), (-9.99,11.65,-9.565,11.68), (-5.92,11.65,-5.495,11.67), (-3.865,11.65,-3.585,13.11), (7.715,11.655,7.995,13.11), (14.28,11.99,14.73,12.03), (14.28,12.03,16.975,12.42), (-13.235,12.06,-10.07,12.515), (-2.905,12.085,-1.715,12.51), (14.28,12.42,14.73,12.44), (16.45,12.42,16.975,14.175), (-13.235,12.515,-12.78,14.175), (-10.535,12.515,-10.07,12.55), (-3.865,13.11,7.995,13.39), (17.86,13.135,18.445,13.695), (17.945,13.695,18.335,18.625), (-13.235,14.175,-12.755,14.205), (16.375,14.175,16.975,14.625), (-14.545,14.205,-12.755,14.66), (16.585,14.625,16.975,14.63), (-14.545,14.66,-14.09,17.745), (-5.565,15.005,-5.135,15.42), (2.605,15.005,3.035,15.42), (0.57,15.01,1,15.425), (-9.645,15.015,-9.215,15.43), (4.65,15.015,5.08,15.43), (-3.53,15.02,-3.1,15.435), (12.805,15.02,13.235,15.435), (16.89,15.02,17.32,15.435), (-13.71,15.025,-13.28,15.44), (-11.675,15.025,-11.245,15.44), (-7.6,15.025,-7.17,15.44), (-1.48,15.025,-1.05,15.44), (10.765,15.025,11.195,15.44), (8.72,15.03,9.15,15.445), (14.85,15.035,15.28,15.45), (6.68,15.04,7.11,15.455), (-5.505,15.42,-5.225,16.995), (2.645,15.42,2.925,16.995), (0.595,15.425,0.875,16.995), (-9.59,15.43,-9.31,16.985), (4.68,15.43,4.96,16.985), (-3.475,15.435,-3.195,16.98), (12.88,15.435,13.16,16.985), (16.985,15.435,17.265,16.98), (-13.665,15.44,-13.385,16.97), (-11.615,15.44,-11.335,16.98), (-7.54,15.44,-7.26,16.965), (-1.41,15.44,-1.13,16.99), (10.825,15.44,11.105,16.995), (8.77,15.445,9.05,17.01), (14.915,15.45,15.195,16.98), (6.735,15.455,7.015,17.01), (-7.615,16.965,-7.185,17.01), (-13.7,16.97,-13.27,17.01), (-11.67,16.98,-11.24,17.01), (-3.52,16.98,-3.09,17.01), (14.84,16.98,15.27,17.01), (16.885,16.98,17.315,17.01), (-9.645,16.985,-9.215,17.01), (4.65,16.985,5.08,17.01), (12.8,16.985,13.23,17.01), (-1.47,16.99,-1.04,17.01), (-5.56,16.995,-5.13,17.01), (0.575,16.995,1.005,17.01), (2.605,16.995,3.035,17.01), (10.765,16.995,11.195,17.01), (-13.7,17.01,17.315,17.29), (-13.7,17.29,-13.27,17.385), (-11.67,17.29,-11.24,17.395), (-9.645,17.29,-9.215,17.4), (-7.615,17.29,-7.185,17.38), (-5.56,17.29,-5.13,17.41), (-3.52,17.29,-3.09,17.395), (-1.47,17.29,-1.04,17.405), (0.575,17.29,1.005,17.41), (2.605,17.29,3.035,17.41), (4.65,17.29,5.08,17.4), (6.68,17.29,7.11,17.425), (8.745,17.29,9.175,17.425), (10.765,17.29,11.195,17.41), (12.8,17.29,13.23,17.4), (14.84,17.29,15.27,17.395), (16.885,17.29,17.315,17.395), (-14.545,17.745,-13.775,18.195), (17.9,18.625,18.37,19.165)])
R(cm_lsb_mod, via2, [(11.425,-2.355,11.685,-2.095), (2.925,-0.2,3.185,0.06), (10.07,1.335,10.33,1.595), (10.85,2.03,11.11,2.29), (-4.8,10.47,-4.54,10.73), (6.77,10.47,7.03,10.73)])
R(cm_lsb_mod, metal3, [(11.365,-2.43,11.725,-2.365), (11.365,-2.365,12.475,-2.085), (11.365,-2.085,11.725,-2.035), (2.87,-0.275,3.255,-0.27), (2.87,-0.27,3.26,0.125), (2.915,0.125,3.195,2.825), (10.05,1.275,10.39,1.325), (10.05,1.325,12.45,1.605), (10.05,1.605,10.39,1.655), (10.7,1.89,11.325,2.005), (10.7,2.005,12.45,2.355), (10.7,2.355,11.325,2.42), (10.765,2.42,11.2,2.425), (-4.9,10.35,-4.415,10.46), (6.65,10.35,7.135,10.46), (-4.9,10.46,7.135,10.74), (-4.9,10.74,-4.415,10.835), (6.65,10.74,7.135,10.835)])
R(cm_lsb_mod, lvpwell, [(-10.345,-1.63,-8.295,-0.35), (-1.62,-1.63,-1.58,-0.35), (0.04,-1.63,0.08,-0.35), (2.72,-1.63,2.76,-0.35), (4.38,-1.63,4.42,-0.35), (6.715,-1.63,7.995,0.47), (11.135,-1.63,13.1,-0.35), (-4.305,-1.625,-4.26,-0.35), (-10.345,0,-8.35,1.28), (-4.3,0,-4.26,1.28), (-1.62,0,-1.58,1.28), (0.04,0,0.08,1.28), (2.72,0,2.76,1.28), (4.38,0,4.42,1.28), (11.155,0,13.1,1.28), (7.06,0.47,7.1,1.28), (-2.69,8.925,12.55,10.205), (-2.69,10.795,11.61,12.075)])
cm_lsb_mod.add(gdstk.Reference(nmos_3p3_mgea3b, (-12.935,0.64)))
cm_lsb_mod.add(gdstk.Reference(nmos_3p3_mgea3b, (-12.935,-0.99)))
cm_lsb_mod.add(gdstk.Reference(nmos_3p3_mgea3b, (-11.915,-0.99)))
cm_lsb_mod.add(gdstk.Reference(nmos_3p3_mgea3b, (-10.895,-0.99)))
cm_lsb_mod.add(gdstk.Reference(nmos_3p3_mgea3b, (-11.915,0.64)))
cm_lsb_mod.add(gdstk.Reference(nmos_3p3_mgea3b, (-10.895,0.64)))
cm_lsb_mod.add(gdstk.Reference(nmos_3p3_mgea3b, (-9.875,-0.99)))
cm_lsb_mod.add(gdstk.Reference(nmos_3p3_mgea3b, (-9.875,0.64)))
cm_lsb_mod.add(gdstk.Reference(nmos_3p3_mgea3b, (-8.17,0.64)))
cm_lsb_mod.add(gdstk.Reference(nmos_3p3_mgea3b, (-8.17,-0.99)))
cm_lsb_mod.add(gdstk.Reference(nmos_3p3_mgea3b, (-6.13,0.64)))
cm_lsb_mod.add(gdstk.Reference(nmos_3p3_mgea3b, (-7.15,0.64)))
cm_lsb_mod.add(gdstk.Reference(nmos_3p3_mgea3b, (-7.15,-0.99)))
cm_lsb_mod.add(gdstk.Reference(nmos_3p3_mgea3b, (-6.13,-0.99)))
cm_lsb_mod.add(gdstk.Reference(nmos_3p3_mgea3b, (-5.11,0.64)))
cm_lsb_mod.add(gdstk.Reference(nmos_3p3_mgea3b, (-5.11,-0.99)))
cm_lsb_mod.add(gdstk.Reference(nmos_3p3_mgea3b, (-3.45,-0.99)))
cm_lsb_mod.add(gdstk.Reference(nmos_3p3_mgea3b, (-3.45,0.64)))
cm_lsb_mod.add(gdstk.Reference(nmos_3p3_mgea3b, (-2.43,-0.99)))
cm_lsb_mod.add(gdstk.Reference(nmos_3p3_mgea3b, (-2.43,0.64)))
cm_lsb_mod.add(gdstk.Reference(nmos_3p3_mgea3b, (-0.77,-0.99)))
cm_lsb_mod.add(gdstk.Reference(nmos_3p3_mgea3b, (-0.77,0.64)))
cm_lsb_mod.add(gdstk.Reference(nmos_3p3_mgea3b, (0.89,-0.99)))
cm_lsb_mod.add(gdstk.Reference(nmos_3p3_mgea3b, (1.91,0.64)))
cm_lsb_mod.add(gdstk.Reference(nmos_3p3_mgea3b, (0.89,0.64)))
cm_lsb_mod.add(gdstk.Reference(nmos_3p3_mgea3b, (1.91,-0.99)))
cm_lsb_mod.add(gdstk.Reference(nmos_3p3_mgea3b, (3.57,0.64)))
cm_lsb_mod.add(gdstk.Reference(nmos_3p3_mgea3b, (3.57,-0.99)))
cm_lsb_mod.add(gdstk.Reference(nmos_3p3_mgea3b, (5.23,0.64)))
cm_lsb_mod.add(gdstk.Reference(nmos_3p3_mgea3b, (5.23,-0.99)))
cm_lsb_mod.add(gdstk.Reference(nmos_3p3_mgea3b, (6.25,0.64)))
cm_lsb_mod.add(gdstk.Reference(nmos_3p3_mgea3b, (6.25,-0.99)))
cm_lsb_mod.add(gdstk.Reference(nmos_3p3_mgea3b, (7.91,0.64)))
cm_lsb_mod.add(gdstk.Reference(nmos_3p3_mgea3b, (7.91,-0.99)))
cm_lsb_mod.add(gdstk.Reference(nmos_3p3_mgea3b, (9.95,0.64)))
cm_lsb_mod.add(gdstk.Reference(nmos_3p3_mgea3b, (8.93,0.64)))
cm_lsb_mod.add(gdstk.Reference(nmos_3p3_mgea3b, (8.93,-0.99)))
cm_lsb_mod.add(gdstk.Reference(nmos_3p3_mgea3b, (9.95,-0.99)))
cm_lsb_mod.add(gdstk.Reference(nmos_3p3_mgea3b, (10.97,0.64)))
cm_lsb_mod.add(gdstk.Reference(nmos_3p3_mgea3b, (10.97,-0.99)))
cm_lsb_mod.add(gdstk.Reference(nmos_3p3_mgea3b, (13.65,0.64)))
cm_lsb_mod.add(gdstk.Reference(nmos_3p3_mgea3b, (13.65,-0.99)))
cm_lsb_mod.add(gdstk.Reference(nmos_3p3_mgea3b, (12.63,0.64)))
cm_lsb_mod.add(gdstk.Reference(nmos_3p3_mgea3b, (12.63,-0.99)))
cm_lsb_mod.add(gdstk.Reference(nmos_3p3_mgea3b, (14.67,-0.99)))
cm_lsb_mod.add(gdstk.Reference(nmos_3p3_mgea3b, (14.67,0.64)))
cm_lsb_mod.add(gdstk.Reference(nmos_3p3_mgea3b, (15.69,-0.99)))
cm_lsb_mod.add(gdstk.Reference(nmos_3p3_mgea3b, (15.69,0.64)))
cm_lsb_mod.add(gdstk.Reference(pmos_3p3_dvj9e7, (1.82,4.75)))
cm_lsb_mod.add(gdstk.Reference(pmos_3p3_kyxslm, (15.12,4.75)))
cm_lsb_mod.add(gdstk.Reference(pmos_3p3_kyxslm, (-11.6,4.75)))
cm_lsb_mod.add(gdstk.Reference(nmos_3p3_ajea3b, (10.935,9.565)))
cm_lsb_mod.add(gdstk.Reference(nmos_3p3_ajea3b, (-6.71,9.565)))
cm_lsb_mod.add(gdstk.Reference(nmos_3p3_ajea3b, (2.13,9.565)))
cm_lsb_mod.add(gdstk.Reference(nmos_3p3_ajea3b, (10.935,11.435)))
cm_lsb_mod.add(gdstk.Reference(nmos_3p3_ajea3b, (-6.71,11.435)))
cm_lsb_mod.add(gdstk.Reference(nmos_3p3_ajea3b, (2.13,11.435)))
cm_lsb_mod.add(gdstk.Reference(nmos_3p3_9nplv7, (1.81,15.2)))
cm_lsb_mod.add(gdstk.Reference(nmos_3p3_9nplv7, (1.81,17.17)))
cm_lsb_mod.add(gdstk.Label('VSS', (-10.75,13.35), layer=22, texttype=0))
cm_lsb_mod.add(gdstk.Label('ITAIL_1', (-10.3,12.35), layer=30, texttype=10))
cm_lsb_mod.add(gdstk.Label('SD0_1', (13.95,9.6), layer=34, texttype=10))
cm_lsb_mod.add(gdstk.Label('VDD', (-6.65,6.2), layer=22, texttype=0))
cm_lsb_mod.add(gdstk.Label('G1_1', (-5.8,5.45), layer=30, texttype=10))
cm_lsb_mod.add(gdstk.Label('G1_2', (-4.85,4.05), layer=30, texttype=10))
cm_lsb_mod.add(gdstk.Label('SD1_1', (-8.55,4.8), layer=34, texttype=10))
cm_lsb_mod.add(gdstk.Label('SD2_1', (-10.4,-0.15), layer=34, texttype=10))
cm_lsb_mod.add(gdstk.Label('ITAIL', (0.35,-0.25), layer=30, texttype=10))
cm_lsb_mod.add(gdstk.Label('G2_1', (1.9,-0.25), layer=30, texttype=10))
cm_lsb_mod.add(gdstk.Label('SD2_2', (1.4,0.8), layer=34, texttype=10))
cm_lsb_mod.add(gdstk.Label('OUT_2', (-0.3,0.85), layer=34, texttype=10))
cm_lsb_mod.add(gdstk.Label('OUT_1', (0.35,0.85), layer=34, texttype=10))
cm_lsb_mod.add(gdstk.Label('SD2_3', (-1.3,-0.15), layer=34, texttype=10))
cm_lsb_mod.add(gdstk.Label('SD2_4', (-2.95,-0.2), layer=34, texttype=10))
cm_lsb_mod.add(gdstk.Label('OUT_3', (-4,0.8), layer=34, texttype=10))
cm_lsb_mod.add(gdstk.Label('OUT_4', (-4.65,-1.05), layer=34, texttype=10))
cm_lsb_mod.add(gdstk.Label('SD2_5', (-5.6,-0.2), layer=34, texttype=10))
cm_lsb_mod.add(gdstk.Label('SD0_2', (-0.95,11.4), layer=34, texttype=10))
cm_lsb_mod.add(gdstk.Label('OUT_5', (15.75,10.55), layer=34, texttype=10))
cm_lsb_mod.add(gdstk.Label('SD3_1', (-11.475,17.205), layer=34, texttype=10))
cm_lsb_mod.add(gdstk.Label('OUT_6', (18.78,16.385), layer=34, texttype=10))

lib.write_gds('CM_LSB_mod.gds')
